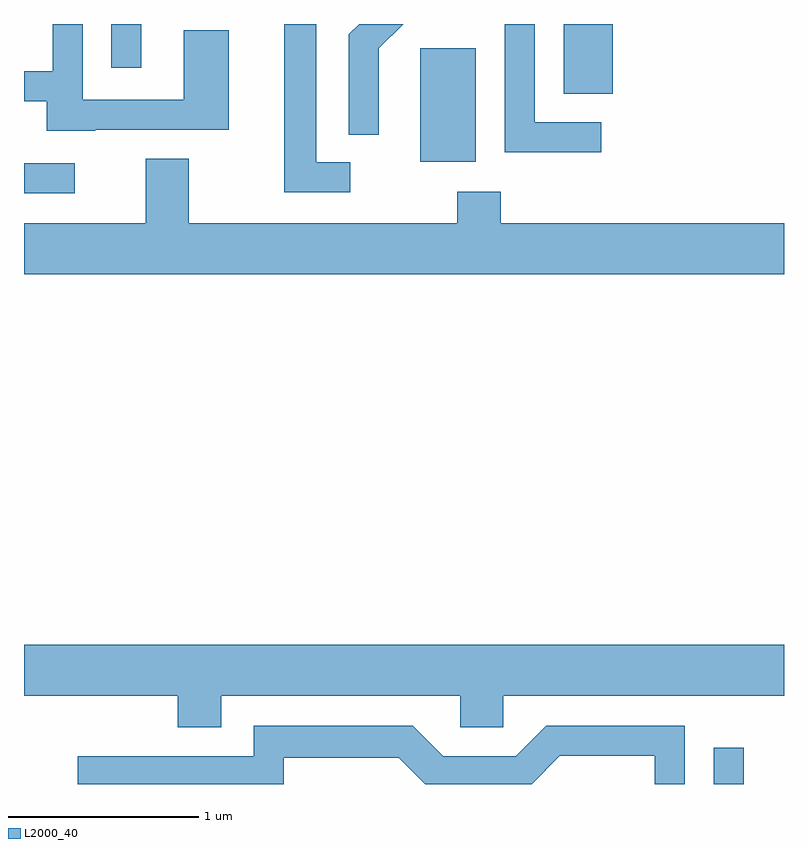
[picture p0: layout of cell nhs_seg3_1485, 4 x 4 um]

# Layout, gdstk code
import gdstk
lib = gdstk.Library(unit=1e-6, precision=1e-09)
def R(c, l, rs):  # rectangles x0, y0, x1, y1
    for r in rs: c.add(gdstk.rectangle(r[:2], r[2:], *l))
def P(c, l, *ps):  # polygons
    for p in ps: c.add(gdstk.Polygon(p, *l))
L2000_40 = (2000, 40)

nhs_seg3_1485 = lib.new_cell('nhs_seg3_1485')
R(nhs_seg3_1485, L2000_40, [(231.241,1229.892,231.399,1230.083), (227.611,1233.001,227.878,1233.159), (229.696,1233.166,229.989,1233.764), (230.451,1233.526,230.709,1233.892), (228.071,1233.663,228.229,1233.892)])
P(nhs_seg3_1485, L2000_40, [(229.328,1233.164),(229.149,1233.164),(229.149,1233.892),(228.981,1233.892),(228.981,1233.006),(229.328,1233.006)],
  [(227.985,1233.336),(228.689,1233.336),(228.689,1233.859),(228.451,1233.859),(228.451,1233.494),(227.919,1233.494),(227.919,1233.892),(227.761,1233.892),(227.761,1233.644),(227.611,1233.644),(227.611,1233.486),(227.731,1233.486),(227.731,1233.331),(227.985,1233.331)],
  [(230.648,1233.374),(230.299,1233.374),(230.299,1233.892),(230.141,1233.892),(230.141,1233.216),(230.648,1233.216)],
  [(229.479,1233.764),(229.607,1233.892),(229.376,1233.892),(229.321,1233.837),(229.321,1233.308),(229.479,1233.308)],
  [(231.611,1232.844),(230.119,1232.844),(230.119,1233.009),(229.891,1233.009),(229.891,1232.844),(228.479,1232.844),(228.479,1233.184),(228.251,1233.184),(228.251,1232.844),(227.611,1232.844),(227.611,1232.576),(231.611,1232.576)],
  [(228.649,1230.356),(229.906,1230.356),(229.906,1230.191),(230.134,1230.191),(230.134,1230.356),(231.611,1230.356),(231.611,1230.624),(227.611,1230.624),(227.611,1230.356),(228.421,1230.356),(228.421,1230.191),(228.649,1230.191)],
  [(228.979,1230.031),(229.584,1230.031),(229.723,1229.892),(230.283,1229.892),(230.432,1230.041),(230.931,1230.041),(230.931,1229.892),(231.089,1229.892),(231.089,1230.199),(230.359,1230.199),(230.199,1230.039),(229.817,1230.039),(229.657,1230.199),(228.821,1230.199),(228.821,1230.039),(227.893,1230.039),(227.893,1229.892),(228.979,1229.892)])

lib.write_gds('nhs_seg3_1485.gds')
